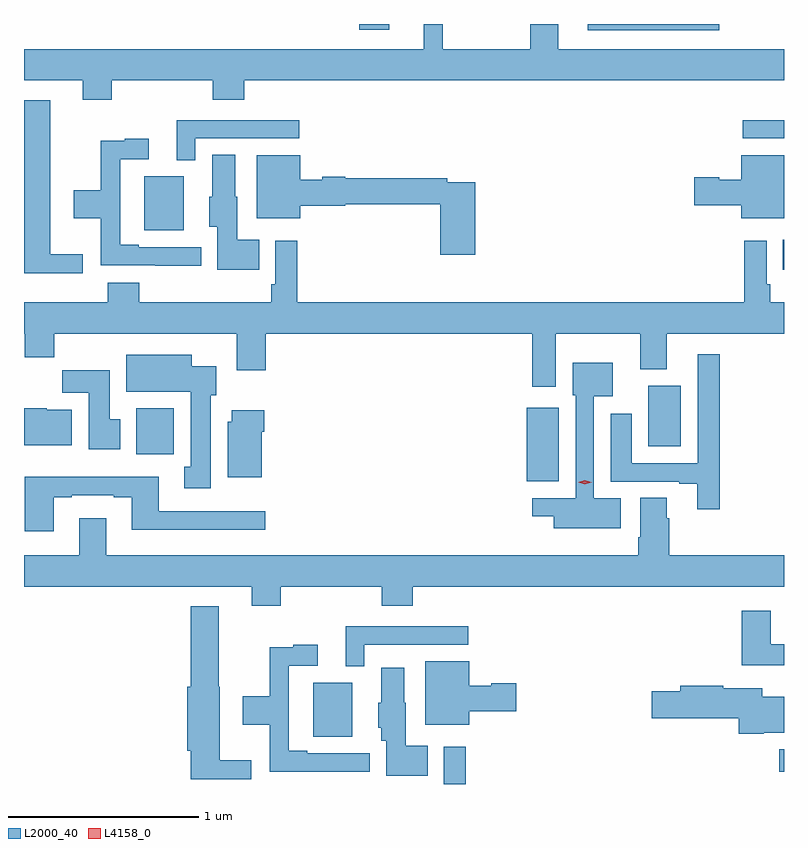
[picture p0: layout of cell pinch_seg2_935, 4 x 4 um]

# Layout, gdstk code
import gdstk
lib = gdstk.Library(unit=1e-6, precision=1e-09)
def R(c, l, rs):  # rectangles x0, y0, x1, y1
    for r in rs: c.add(gdstk.rectangle(r[:2], r[2:], *l))
def P(c, l, *ps):  # polygons
    for p in ps: c.add(gdstk.Polygon(p, *l))
L2000_40 = (2000, 40)
L4158_0 = (4158, 0)

pinch_seg2_935 = lib.new_cell('pinch_seg2_935')
R(pinch_seg2_935, L2000_40, [(337.845,633.277,337.961,633.472), (339.61,633.342,339.635,633.46), (337.157,633.527,337.363,633.811), (338.282,634.871,338.449,635.257), (336.227,635.012,336.424,635.254), (338.921,635.054,339.091,635.374), (339.628,635.984,339.635,636.142), (336.269,636.191,336.475,636.475), (339.417,636.675,339.635,636.771), (338.603,637.244,339.295,637.277), (337.4,637.248,337.558,637.277)])
P(pinch_seg2_935, L2000_40, [(336.098,636.98),(336.629,636.98),(336.629,636.878),(336.794,636.878),(336.794,636.98),(339.635,636.98),(339.635,637.144),(338.446,637.144),(338.446,637.277),(338.299,637.277),(338.299,637.144),(337.838,637.144),(337.838,637.277),(337.739,637.277),(337.739,637.144),(335.635,637.144),(335.635,636.98),(335.945,636.98),(335.945,636.878),(336.098,636.878)],
  [(335.944,636.065),(335.773,636.065),(335.773,636.877),(335.635,636.877),(335.635,635.966),(335.944,635.966)],
  [(336.537,636.675),(337.084,636.675),(337.084,636.771),(336.44,636.771),(336.44,636.56),(336.537,636.56)],
  [(336.568,636.102),(336.238,636.102),(336.238,636.115),(336.141,636.115),(336.141,636.564),(336.292,636.564),(336.292,636.673),(336.164,636.673),(336.164,636.662),(336.04,636.662),(336.04,636.402),(335.898,636.402),(335.898,636.254),(336.04,636.254),(336.04,636.006),(336.325,636.006),(336.325,636.005),(336.568,636.005)],
  [(336.872,636.142),(336.757,636.142),(336.757,636.369),(336.748,636.369),(336.748,636.59),(336.626,636.59),(336.626,636.369),(336.611,636.369),(336.611,636.21),(336.653,636.21),(336.653,635.984),(336.872,635.984)],
  [(338.009,636.444),(337.862,636.444),(337.862,636.464),(337.326,636.464),(337.326,636.472),(337.206,636.472),(337.206,636.457),(337.09,636.457),(337.09,636.586),(336.86,636.586),(336.86,636.254),(337.09,636.254),(337.09,636.32),(337.326,636.32),(337.326,636.328),(337.826,636.328),(337.826,636.063),(338.009,636.063)],
  [(339.635,636.586),(339.41,636.586),(339.41,636.457),(339.294,636.457),(339.294,636.47),(339.162,636.47),(339.162,636.323),(339.41,636.323),(339.41,636.254),(339.635,636.254)],
  [(338.434,635.648),(338.879,635.648),(338.879,635.459),(339.019,635.459),(339.019,635.648),(339.635,635.648),(339.635,635.812),(339.563,635.812),(339.563,635.908),(339.543,635.908),(339.543,636.136),(339.427,636.136),(339.427,635.812),(337.073,635.812),(337.073,636.136),(336.957,636.136),(336.957,635.908),(336.937,635.908),(336.937,635.812),(336.242,635.812),(336.242,635.914),(336.077,635.914),(336.077,635.812),(335.635,635.812),(335.635,635.648),(335.639,635.648),(335.639,635.524),(335.795,635.524),(335.795,635.648),(336.755,635.648),(336.755,635.454),(336.908,635.454),(336.908,635.648),(338.309,635.648),(338.309,635.367),(338.434,635.367)],
  [(339.296,635.539),(339.18,635.539),(339.18,634.965),(338.833,634.965),(338.833,635.227),(338.723,635.227),(338.723,634.869),(339.083,634.869),(339.083,634.857),(339.179,634.857),(339.179,634.722),(339.296,634.722)],
  [(336.619,635.322),(336.646,635.322),(336.646,635.476),(336.517,635.476),(336.517,635.536),(336.173,635.536),(336.173,635.342),(336.512,635.342),(336.512,634.946),(336.479,634.946),(336.479,634.833),(336.619,634.833)],
  [(338.776,634.78),(338.634,634.78),(338.634,635.318),(338.734,635.318),(338.734,635.494),(338.522,635.494),(338.522,635.322),(338.538,635.322),(338.538,634.782),(338.31,634.782),(338.31,634.685),(338.423,634.685),(338.423,634.622),(338.776,634.622)],
  [(336.142,635.196),(336.085,635.196),(336.085,635.454),(335.836,635.454),(335.836,635.336),(335.975,635.336),(335.975,635.04),(336.142,635.04)],
  [(335.887,635.248),(335.754,635.248),(335.754,635.254),(335.635,635.254),(335.635,635.06),(335.887,635.06)],
  [(336.886,635.132),(336.899,635.132),(336.899,635.245),(336.728,635.245),(336.728,635.184),(336.707,635.184),(336.707,634.892),(336.886,634.892)],
  [(335.791,634.785),(335.887,634.785),(335.887,634.797),(336.107,634.797),(336.107,634.785),(336.203,634.785),(336.203,634.616),(336.904,634.616),(336.904,634.713),(336.343,634.713),(336.343,634.894),(335.639,634.894),(335.639,634.608),(335.791,634.608)],
  [(336.986,634.316),(337.517,634.316),(337.517,634.214),(337.682,634.214),(337.682,634.316),(339.635,634.316),(339.635,634.48),(339.032,634.48),(339.032,634.676),(339.019,634.676),(339.019,634.784),(338.879,634.784),(338.879,634.576),(338.867,634.576),(338.867,634.48),(336.067,634.48),(336.067,634.675),(335.927,634.675),(335.927,634.48),(335.635,634.48),(335.635,634.316),(336.833,634.316),(336.833,634.214),(336.986,634.214)],
  [(336.832,633.401),(336.664,633.401),(336.664,633.789),(336.661,633.789),(336.661,634.213),(336.512,634.213),(336.512,633.789),(336.494,633.789),(336.494,633.453),(336.512,633.453),(336.512,633.302),(336.832,633.302)],
  [(339.635,634.012),(339.565,634.012),(339.565,634.189),(339.413,634.189),(339.413,633.902),(339.635,633.902)],
  [(337.425,634.011),(337.972,634.011),(337.972,634.107),(337.328,634.107),(337.328,633.896),(337.425,633.896)],
  [(337.456,633.438),(337.126,633.438),(337.126,633.451),(337.029,633.451),(337.029,633.9),(337.18,633.9),(337.18,634.009),(337.052,634.009),(337.052,633.998),(336.928,633.998),(336.928,633.738),(336.786,633.738),(336.786,633.59),(336.928,633.59),(336.928,633.342),(337.213,633.342),(337.213,633.341),(337.456,633.341)],
  [(337.978,633.659),(338.227,633.659),(338.227,633.806),(338.094,633.806),(338.094,633.793),(337.978,633.793),(337.978,633.922),(337.748,633.922),(337.748,633.59),(337.978,633.59)],
  [(337.76,633.478),(337.645,633.478),(337.645,633.705),(337.636,633.705),(337.636,633.889),(337.514,633.889),(337.514,633.705),(337.499,633.705),(337.499,633.573),(337.514,633.573),(337.514,633.504),(337.541,633.504),(337.541,633.32),(337.76,633.32)],
  [(339.528,633.548),(339.635,633.548),(339.635,633.736),(339.52,633.736),(339.52,633.781),(339.314,633.781),(339.314,633.794),(339.089,633.794),(339.089,633.764),(338.94,633.764),(338.94,633.622),(339.398,633.622),(339.398,633.542),(339.528,633.542)])
P(pinch_seg2_935, L4158_0, [(338.586,634.855),(338.551,634.865),(338.55,634.865),(338.551,634.865),(338.586,634.875),(338.622,634.865),(338.622,634.865),(338.622,634.865)])

lib.write_gds('pinch_seg2_935.gds')
